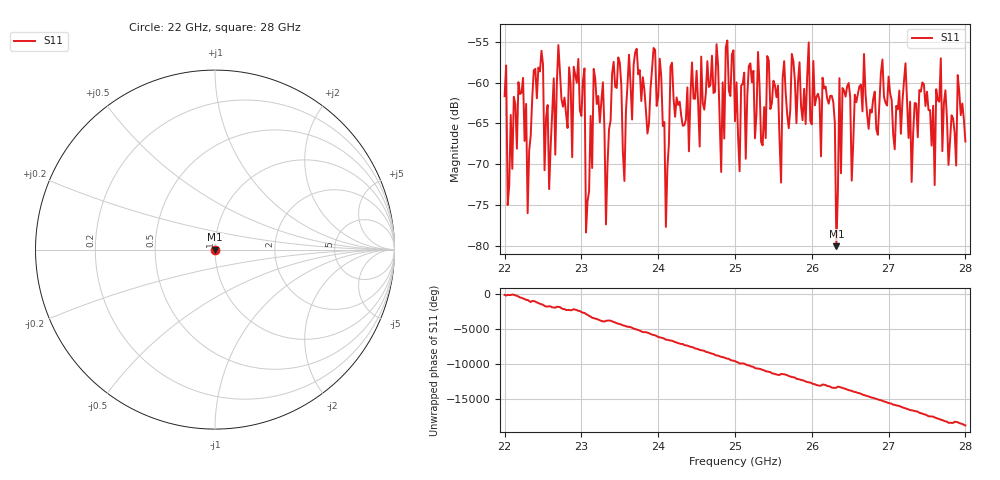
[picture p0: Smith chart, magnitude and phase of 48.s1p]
#  HZ  S  RI  R  50.00
! Rohde & Schwarz ZVA40 4Ports - Version 3.90 - 1145.1110k42 SN: 100403
! Date: 2023-10-04 06:41:18
! Measurement: S12
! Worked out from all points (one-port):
!   301 points, 22 GHz to 28 GHz, reference 50 ohm
!   lowest |S11| = -80.1 dB at 26.32 GHz (marker M1), VSWR 1.00, Z = 50 - j0.00931 ohm
!   |S11| at or under -10 dB: start of sweep to end of sweep
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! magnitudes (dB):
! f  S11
! 22 GHz  -61.6
! 22.04 GHz  -75.0
! 22.24 GHz  -59.4
! 22.3 GHz  -76.0
! 22.38 GHz  -58.5
! 22.58 GHz  -73.1
! 22.76 GHz  -62.9
! 23.04 GHz  -58.2
! 23.06 GHz  -78.4
! 23.28 GHz  -59.9
! 23.32 GHz  -77.4
! 23.5 GHz  -57.5
! 23.56 GHz  -72.1
! 23.62 GHz  -56.6
! 24.02 GHz  -57.0
! 24.1 GHz  -77.7
! 24.16 GHz  -58.0
! 24.26 GHz  -62.7
! 25 GHz  -64.7
! 25.42 GHz  -56.7
! 25.6 GHz  -72.3
! 25.76 GHz  -57.3
! 26.28 GHz  -62.4
! 26.32 GHz  -80.1
! 26.36 GHz  -59.4
! 26.5 GHz  -61.8
! 27.26 GHz  -66.8
! 28 GHz  -67.2
